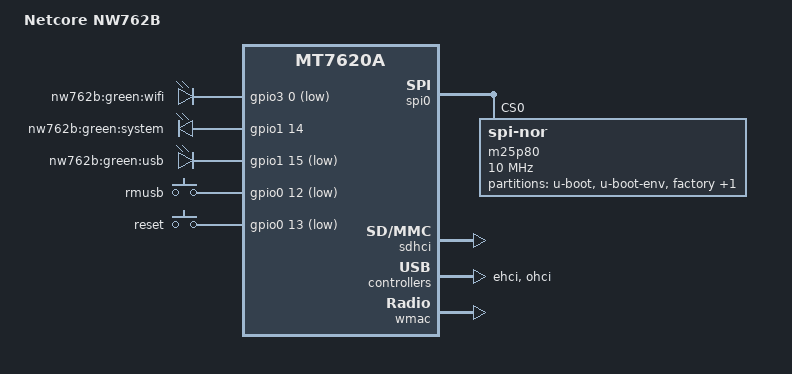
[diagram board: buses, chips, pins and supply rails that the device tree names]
// SPDX-License-Identifier: GPL-2.0-or-later OR MIT
/dts-v1/;

#include "mt7620a.dtsi"

#include <dt-bindings/gpio/gpio.h>
#include <dt-bindings/input/input.h>

/ {
	compatible = "netcore,nw762b", "ralink,mt7620a-soc";
	model = "Netcore NW762B";

	aliases {
		led-boot = &led_system;
		led-failsafe = &led_system;
		led-running = &led_system;
		led-upgrade = &led_system;
	};

	chosen {
		bootargs = "console=ttyS0,57600";
	};

	gpio-leds {
		compatible = "gpio-leds";

		wifi {
			label = "nw762b:green:wifi";
			gpios = <&gpio3 0 GPIO_ACTIVE_LOW>;
		};

		led_system: system {
			label = "nw762b:green:system";
			gpios = <&gpio1 14 GPIO_ACTIVE_HIGH>;
		};

		usb {
			label = "nw762b:green:usb";
			gpios = <&gpio1 15 GPIO_ACTIVE_LOW>;
			trigger-sources = <&ohci_port1>, <&ehci_port1>;
			linux,default-trigger = "usbport";
		};
	};

	gpio-keys-polled {
		compatible = "gpio-keys-polled";
		poll-interval = <20>;

		rmusb {
			label = "rmusb";
			gpios = <&gpio0 12 GPIO_ACTIVE_LOW>;
			linux,code = <BTN_1>;
		};

		reset {
			label = "reset";
			gpios = <&gpio0 13 GPIO_ACTIVE_LOW>;
			linux,code = <KEY_RESTART>;
		};
	};
};

&spi0 {
	status = "okay";

	m25p80@0 {
		compatible = "jedec,spi-nor";
		reg = <0>;
		spi-max-frequency = <10000000>;

		partitions {
			compatible = "fixed-partitions";
			#address-cells = <1>;
			#size-cells = <1>;

			partition@0 {
				label = "u-boot";
				reg = <0x0 0x30000>;
				#read-only;
			};

			partition@30000 {
				label = "u-boot-env";
				reg = <0x30000 0x10000>;
				#read-only;
			};

			factory: partition@40000 {
				label = "factory";
				reg = <0x40000 0x10000>;
				#read-only;
			};

			partition@50000 {
				compatible = "denx,uimage";
				label = "firmware";
				reg = <0x50000 0xfb0000>;
			};
		};
	};
};

&gpio0 {
	status = "okay";
};

&gpio1 {
	status = "okay";
};

&gpio3 {
	status = "okay";
};

&sdhci {
	status = "okay";
};

&ehci {
	status = "okay";
};

&ohci {
	status = "okay";
};

&ethernet {
	mtd-mac-address = <&factory 0x4>;
	mediatek,portmap = "llllw";
};

&wmac {
	ralink,mtd-eeprom = <&factory 0>;
};

&pinctrl {
	state_default: pinctrl0 {
		default {
			ralink,group = "wled", "uartf", "spi refclk";
			ralink,function = "gpio";
		};
	};
};
